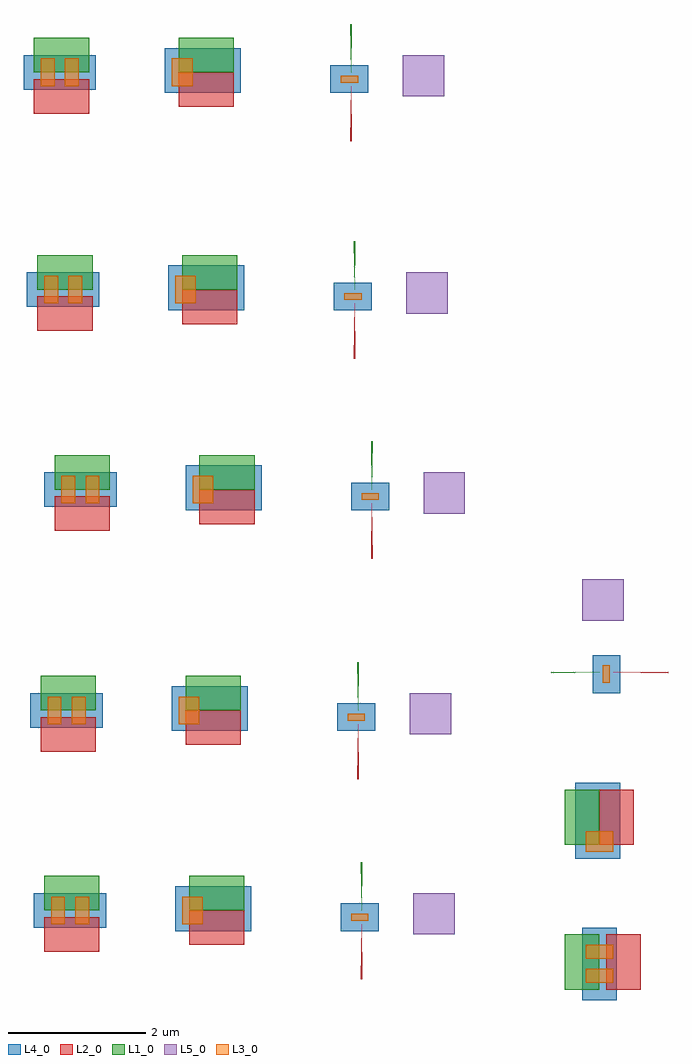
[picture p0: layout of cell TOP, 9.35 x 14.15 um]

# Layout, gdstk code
from math import pi, radians
import gdstk
lib = gdstk.Library(unit=1e-6, precision=1e-09)
def R(c, l, rs):  # rectangles x0, y0, x1, y1
    for r in rs: c.add(gdstk.rectangle(r[:2], r[2:], *l))
def P(c, l, *ps):  # polygons
    for p in ps: c.add(gdstk.Polygon(p, *l))
L1_0 = (1, 0)
L2_0 = (2, 0)
L3_0 = (3, 0)
L4_0 = (4, 0)
L5_0 = (5, 0)

c_a = lib.new_cell('A')
R(c_a, L1_0, [(-2.6,0.5,-1.8,1), (-0.5,0.5,0.3,1)])
P(c_a, L1_0, [(2,0.499),(1.99,1.2),(2.01,1.2)])
R(c_a, L2_0, [(-2.6,-0.1,-1.8,0.4), (-0.5,0,0.3,0.5)])
P(c_a, L2_0, [(1.99,-0.5),(2,0.3),(2.01,-0.5)])

c_b = lib.new_cell('B')
R(c_b, L3_0, [(-2.5,0.3,-2.3,0.7), (-2.15,0.3,-1.95,0.7), (-0.6,0.3,-0.3,0.7), (1.85,0.35,2.1,0.45)])
R(c_b, L4_0, [(-0.7,0.2,0.4,0.85), (1.7,0.2,2.25,0.6), (-2.75,0.25,-1.7,0.75)])
R(c_b, L5_0, [(2.75,0.15,3.35,0.75)])

c_c = lib.new_cell('C')
r = gdstk.Reference(c_a, (3,1)); r.repetition = gdstk.Repetition(1, 1, v1=(0,0), v2=(0,0)); c_c.add(r)
r = gdstk.Reference(c_b, (3,1)); r.repetition = gdstk.Repetition(1, 1, v1=(0,0), v2=(0,0)); c_c.add(r)

top = lib.new_cell('TOP')
R(top, L1_0, [(1.25,2.4,2.05,2.9), (3.35,2.4,4.15,2.9), (1.15,11.4,1.95,11.9), (3.25,11.4,4.05,11.9)])
P(top, L1_0, [(5.75,11.399),(5.74,12.1),(5.76,12.1)],
  [(5.85,2.399),(5.84,3.1),(5.86,3.1)])
R(top, L2_0, [(1.25,1.8,2.05,2.3), (3.35,1.9,4.15,2.4), (1.15,10.8,1.95,11.3), (3.25,10.9,4.05,11.4)])
P(top, L2_0, [(5.74,10.4),(5.75,11.2),(5.76,10.4)],
  [(5.84,1.4),(5.85,2.2),(5.86,1.4)])
R(top, L3_0, [(1.35,2.2,1.55,2.6), (1.7,2.2,1.9,2.6), (3.25,2.2,3.55,2.6), (5.7,2.25,5.95,2.35), (1.2,14.35,1.4,14.75), (1.55,14.35,1.75,14.75), (3.1,14.35,3.4,14.75), (5.55,14.4,5.8,14.5)])
R(top, L4_0, [(3.15,2.1,4.25,2.75), (5.55,2.1,6.1,2.5), (1.1,2.15,2.15,2.65), (3,14.25,4.1,14.9), (5.4,14.25,5.95,14.65), (0.95,14.3,2,14.8)])
R(top, L5_0, [(6.6,2.05,7.2,2.65), (6.45,14.2,7.05,14.8)])
r = gdstk.Reference(c_c, (10.8,0.85), rotation=pi/2); r.repetition = gdstk.Repetition(1, 1, v1=(0,0), v2=(0,0)); top.add(r)
r = gdstk.Reference(c_c, (0.8,3.8)); r.repetition = gdstk.Repetition(1, 1, v1=(0,0), v2=(0,0)); top.add(r)
r = gdstk.Reference(c_a, (4,8)); r.repetition = gdstk.Repetition(1, 1, v1=(0,0), v2=(0,0)); top.add(r)
r = gdstk.Reference(c_b, (4,8)); r.repetition = gdstk.Repetition(1, 1, v1=(0,0), v2=(0,0)); top.add(r)
r = gdstk.Reference(c_a, (3.7,14.05)); r.repetition = gdstk.Repetition(1, 1, v1=(0,0), v2=(0,0)); top.add(r)
r = gdstk.Reference(c_b, (3.75,10.9)); r.repetition = gdstk.Repetition(1, 1, v1=(0,0), v2=(0,0)); top.add(r)

lib.write_gds('TOP.gds')
